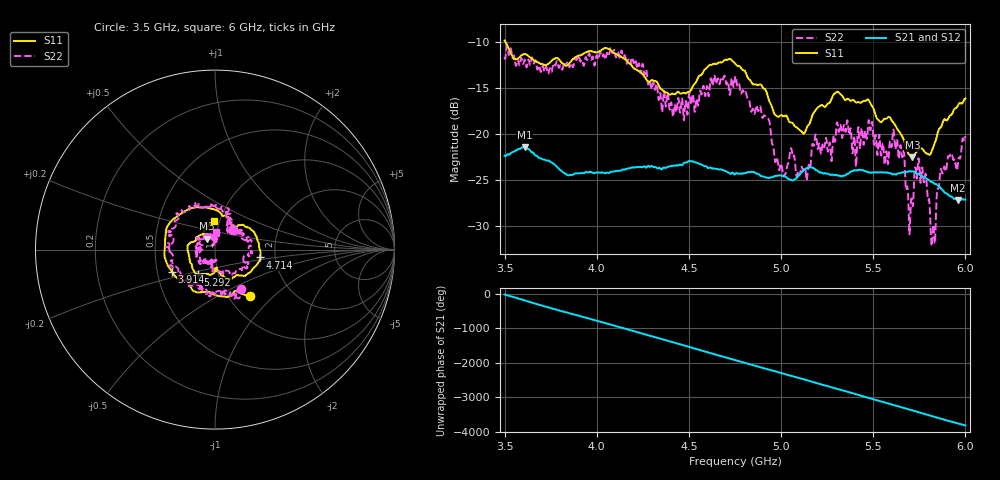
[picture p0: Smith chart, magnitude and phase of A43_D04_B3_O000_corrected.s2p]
! Created with skrf 1.9.0 (http://scikit-rf.org).
# Hz S RI R 50.0
!freq ReS11 ImS11 ReS21 ImS21 ReS12 ImS12 ReS22 ImS22
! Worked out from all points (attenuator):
!   1601 points, 3.5 GHz to 6 GHz, reference 50 ohm
!   highest |S21| = -21.39 dB at 3.609 GHz (marker M1); lowest = -27.1 dB at 5.959 GHz (marker M2)
!   lowest |S11| = -22.5 dB at 5.713 GHz (marker M3), VSWR 1.16, Z = 45.4 + j5.49 ohm
!   |S11| at or under -10 dB: 3.507 GHz to end of sweep
!   |S22| runs from -32.2 to -10.4 dB; largest |S21 - S12| = 0.00097
!   S11 on the Smith chart (normalised r, x): 3.5 GHz: 1.25, -0.72; 3.914 GHz: 0.60, -0.16; 4.714 GHz: 1.67, -0.16; 5.292 GHz: 0.80, -0.23; 6 GHz: 0.95, +0.30
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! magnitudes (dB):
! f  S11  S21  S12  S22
! 3.5 GHz  -9.8  -22.3  -22.3  -11.6
! 3.609 GHz  -11.3  -21.4  -21.4  -11.9
! 3.914 GHz  -11.4  -24.2  -24.1  -12.0
! 3.917 GHz  -11.4  -24.2  -24.2  -11.9
! 4.142 GHz  -11.7  -23.8  -23.8  -11.6
! 4.334 GHz  -14.6  -23.7  -23.6  -16.1
! 4.714 GHz  -11.8  -24.1  -24.1  -14.5
! 4.75 GHz  -12.3  -24.3  -24.2  -13.9
! 4.927 GHz  -15.8  -24.7  -24.7  -18.3
! 5.016 GHz  -18.0  -24.5  -24.5  -24.5
! 5.167 GHz  -18.1  -23.6  -23.5  -21.4
! 5.292 GHz  -15.5  -24.4  -24.4  -20.8
! 5.584 GHz  -18.1  -24.2  -24.1  -22.3
! 5.656 GHz  -20.2  -24.1  -24.0  -22.5
! 5.689 GHz  -22.0  -24.1  -24.0  -26.5
! 5.713 GHz  -22.5  -24.0  -23.9  -27.6
! 5.737 GHz  -21.8  -24.3  -24.2  -24.7
! 5.775 GHz  -21.8  -24.6  -24.6  -25.2
! 5.825 GHz  -21.4  -25.2  -25.2  -30.0
! 5.872 GHz  -19.0  -26.0  -25.9  -24.1
! 5.959 GHz  -16.9  -27.1  -27.0  -23.2
! 6 GHz  -16.1  -27.1  -27.0  -20.2
